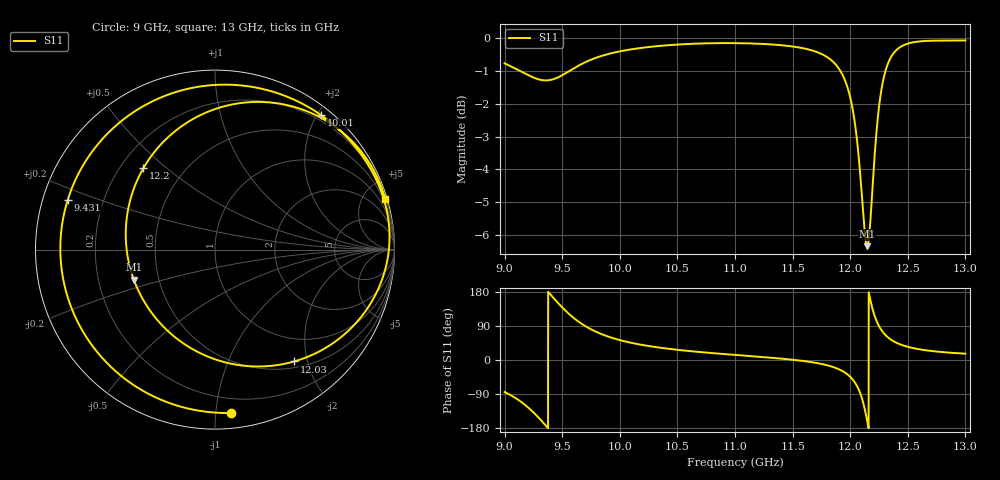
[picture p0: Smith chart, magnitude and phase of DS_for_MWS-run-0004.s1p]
! TOUCHSTONE file generated by CST DESIGN STUDIO
! Date and time: Tue Feb  4 16:29:38 2025
! Project name: C:\Work\MatlabApps\UnitCellOptimizationMatlab\CST\unitcell.cst
! Tree item: Tasks\Sweep1\SPara1\S-Parameters
! Header version: 2024
! Port assignment regex: !\s*Touchstone port\s*([0-9]+)\s*=\s*(CST MWS port|CST DES external port|CST DES block port)\s*(.+)\s* \(\"(.*)\"\)(\s*mode\s*([0-9]+))?.*
! Touchstone port assignment:
! Touchstone port 1 = CST DES external port 1 ("")
# GHz S MA R 50
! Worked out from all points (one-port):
!   4001 points, 9 GHz to 13 GHz, reference 50 ohm
!   lowest |S11| = -6.3 dB at 12.15 GHz (marker M1), VSWR 2.86, Z = 17.9 - j7.83 ohm
!   |S11| at or under -10 dB: nowhere
!   S11 on the Smith chart (normalised r, x): 9 GHz: 0.10, -1.10; 9.431 GHz: 0.07, +0.16; 10.01 GHz: 0.12, +2.06; 12.03 GHz: 0.59, -1.78; 12.2 GHz: 0.29, +0.42; 13 GHz: 0.22, +6.82
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9  0.9146 -84.5
9.121  0.8926 -105.7
9.217  0.8753 -128.8
9.334  0.8619 -165.0
9.431  0.866 161.4
9.5  0.8773 138.8
9.586  0.8954 114.4
9.681  0.9146 93.1
9.829  0.937 69.8
10  0.9536 52.5
10.011  0.9544 51.7
10.5  0.9766 26.9
11  0.9815 13.4
11.5  0.97 0.7
11.841  0.9231 -17.5
11.933  0.8787 -29.2
12  0.8121 -44.3
12.03  0.7635 -54.7
12.095  0.5956 -94.4
12.12  0.5218 -121.2
12.147  0.4824 -159.7
12.171  0.5153 163.9
12.197  0.6043 131.3
12.234  0.7387 99.4
12.278  0.8474 76.0
12.369  0.9435 50.8
12.5  0.9798 34.8
13  0.9907 16.7
